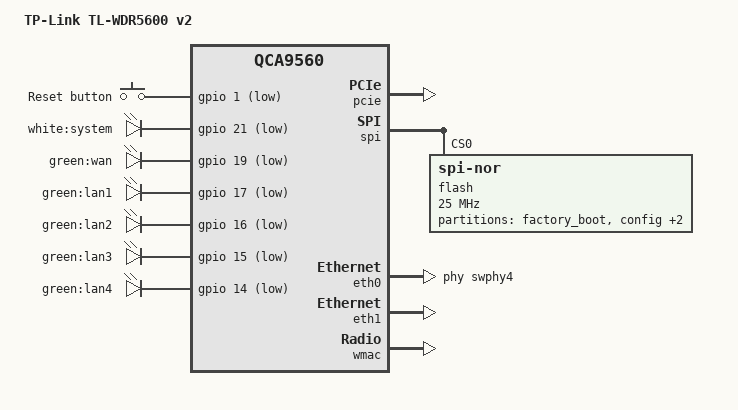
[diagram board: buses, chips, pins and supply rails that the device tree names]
// SPDX-License-Identifier: GPL-2.0-or-later OR MIT

#include <dt-bindings/gpio/gpio.h>
#include <dt-bindings/input/input.h>

#include "qca956x.dtsi"

/ {
	compatible = "tplink,tl-wdr5600-v2", "qca,qca9560";
	model = "TP-Link TL-WDR5600 v2";

	aliases {
		led-boot = &system;
		led-failsafe = &system;
		led-running = &system;
		led-upgrade = &system;
		label-mac-device = &eth0;
	};

	keys {
		compatible = "gpio-keys";

		reset {
			label = "Reset button";
			linux,code = <KEY_RESTART>;
			gpios = <&gpio 1 GPIO_ACTIVE_LOW>;
		};
	};

	leds {
		compatible = "gpio-leds";

		system: system {
			label = "white:system";
			gpios = <&gpio 21 GPIO_ACTIVE_LOW>;
			default-state = "on";
		};

		wan {
			label = "green:wan";
			gpios = <&gpio 19 GPIO_ACTIVE_LOW>;
		};

		lan1 {
			label = "green:lan1";
			gpios = <&gpio 17 GPIO_ACTIVE_LOW>;
		};

		lan2 {
			label = "green:lan2";
			gpios = <&gpio 16 GPIO_ACTIVE_LOW>;
		};

		lan3 {
			label = "green:lan3";
			gpios = <&gpio 15 GPIO_ACTIVE_LOW>;
		};

		lan4 {
			label = "green:lan4";
			gpios = <&gpio 14 GPIO_ACTIVE_LOW>;
		};
	};
};

&pcie {
	status = "okay";
};

&spi {
	status = "okay";

	flash@0 {
		compatible = "jedec,spi-nor";
		reg = <0>;
		spi-max-frequency = <25000000>;

		partitions {
			compatible = "fixed-partitions";
			#address-cells = <1>;
			#size-cells = <1>;

			uboot: factory-boot@0 {
				label = "factory_boot";
				reg = <0x000000 0x020000>;
				read-only;
			};

			config@20000 {
				label = "config";
				reg = <0x020000 0x010000>;
				read-only;
			};

			normal-boot@30000 {
				label = "normal_boot";
				reg = <0x030000 0x010000>;
				read-only;
			};

			firmware@40000 {
				label = "firmware";
				compatible = "denx,uimage";
				reg = <0x040000 0x7c0000>;
			};
		};
	};
};

&eth0 {
	status = "okay";
	phy-handle = <&swphy4>;
	mtd-mac-address = <&uboot 0x1d80d>;
};

&eth1 {
	status = "okay";
	mtd-mac-address = <&uboot 0x1d80d>;
	mtd-mac-address-increment = <1>;
};

&wmac {
	status = "okay";
	mtd-cal-data = <&uboot 0x1e000>;
	mtd-mac-address = <&uboot 0x1d80d>;
	mtd-mac-address-increment = <2>;
};
